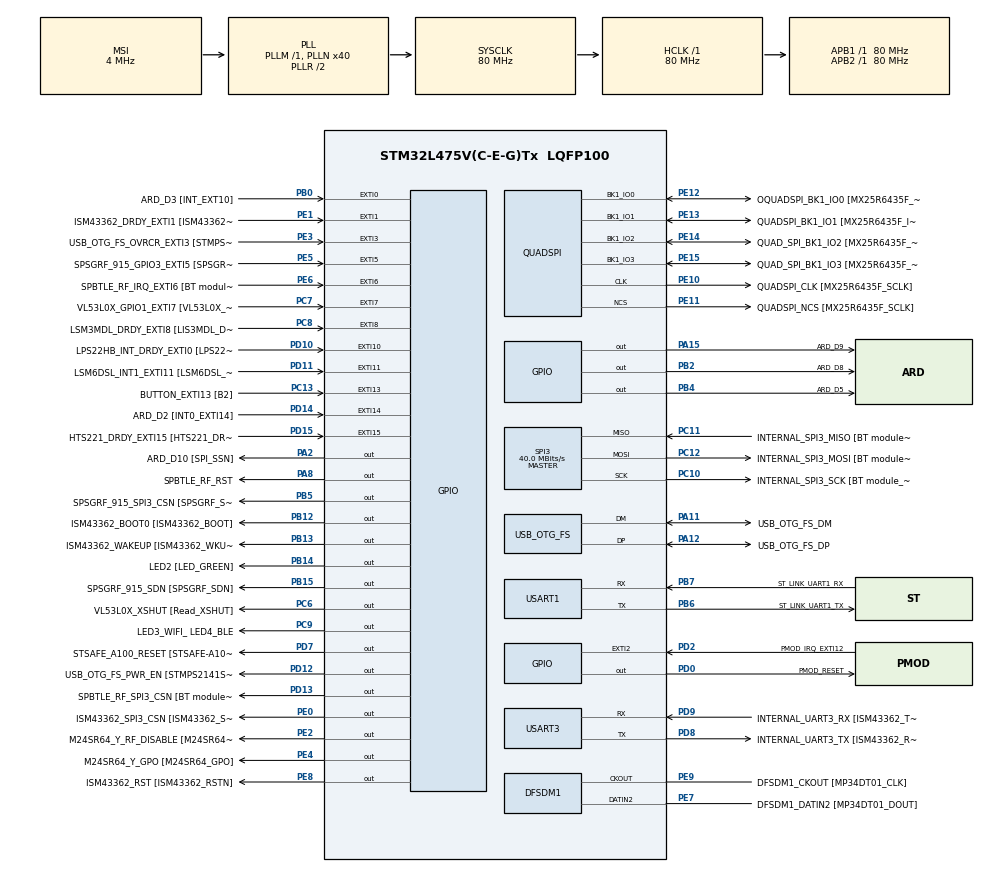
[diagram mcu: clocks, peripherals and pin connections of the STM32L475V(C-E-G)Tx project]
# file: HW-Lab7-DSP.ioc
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Mcu.Family=STM32L4
Mcu.Name=STM32L475V(C-E-G)Tx
Mcu.Package=LQFP100
NVIC.EXTI15_10_IRQn=true\:0\:0\:false\:false\:true\:true\:true\:true
NVIC.EXTI9_5_IRQn=true\:0\:0\:false\:false\:true\:true\:true\:true
NVIC.PriorityGroup=NVIC_PRIORITYGROUP_4
PA0.GPIO_Label=ARD_D1 [UART4_TX]
PA0.Signal=UART4_TX
PA1.GPIO_Label=ARD_D0 [UART4_RX]
PA1.Signal=UART4_RX
PA10.GPIO_Label=USB_OTG_FS_ID
PA10.Signal=USB_OTG_FS_ID
PA11.GPIO_Label=USB_OTG_FS_DM
PA11.Mode=Device_Only
PA11.Signal=USB_OTG_FS_DM
PA12.GPIO_Label=USB_OTG_FS_DP
PA12.Mode=Device_Only
PA12.Signal=USB_OTG_FS_DP
PA13\ (JTMS-SWDIO).GPIO_Label=SYS_JTMS_SWDIO
PA13\ (JTMS-SWDIO).Mode=Serial_Wire
PA13\ (JTMS-SWDIO).Signal=SYS_JTMS-SWDIO
PA14\ (JTCK-SWCLK).GPIO_Label=SYS_JTCK_SWCLK
PA14\ (JTCK-SWCLK).Mode=Serial_Wire
PA14\ (JTCK-SWCLK).Signal=SYS_JTCK-SWCLK
PA15\ (JTDI).GPIO_Label=ARD_D9
PA15\ (JTDI).Signal=GPIO_Output
PA2.GPIO_Label=ARD_D10 [SPI_SSN]
PA2.Signal=GPIO_Output
PA3.GPIO_Label=ARD_D4
PA3.Signal=S_TIM2_CH4
PA4.GPIO_Label=ARD_D7
PA4.Signal=ADCx_IN9
PA5.GPIO_Label=ARD_D13 [SPI1_SCK]
PA5.Signal=SPI1_SCK
PA6.GPIO_Label=ARD_D12 [SPI1_MISO]
PA6.Signal=SPI1_MISO
PA7.GPIO_Label=ARD_D11 [SPI1_MOSI]
PA7.Signal=SPI1_MOSI
PA8.GPIO_Label=SPBTLE_RF_RST
PA8.Signal=GPIO_Output
PA9.GPIO_Label=USB_OTG_FS_VBUS [STMPS2141STR_OUT]
PA9.Signal=USB_OTG_FS_VBUS
PB0.GPIO_Label=ARD_D3 [INT_EXT10]
PB0.Signal=GPXTI0
PB1.GPIO_Label=ARD_D6 [ADC1_IN6]
PB1.Signal=ADCx_IN16
PB10.GPIO_Label=INTERNAL_I2C2_SCL [VL53L0X_SCL]
PB10.GPIO_Pu=GPIO_PULLUP
PB10.Signal=I2C2_SCL
PB11.GPIO_Label=INTERNAL_I2C2_SDA [VL53L0X_SDA]
PB11.GPIO_Pu=GPIO_PULLUP
PB11.Signal=I2C2_SDA
PB12.GPIO_Label=ISM43362_BOOT0 [ISM43362_BOOT]
PB12.Signal=GPIO_Output
PB13.GPIO_Label=ISM43362_WAKEUP [ISM43362_WKUP]
PB13.Signal=GPIO_Output
PB14.GPIO_Label=LED2 [LED_GREEN]
PB14.Signal=GPIO_Output
PB15.GPIO_Label=SPSGRF_915_SDN [SPSGRF_SDN]
PB15.Signal=GPIO_Output
PB2.GPIO_Label=ARD_D8
PB2.Signal=GPIO_Output
PB3\ (JTDO-TRACESWO).GPIO_Label=SYS_JTD0_SWO
PB3\ (JTDO-TRACESWO).Signal=SYS_JTDO-SWO
PB4\ (NJTRST).GPIO_Label=ARD_D5
PB4\ (NJTRST).Signal=GPIO_Output
PB5.GPIO_Label=SPSGRF_915_SPI3_CSN [SPSGRF_SPI_CS]
PB5.PinState=GPIO_PIN_SET
PB5.Signal=GPIO_Output
PB6.GPIO_Label=ST_LINK_UART1_TX
PB6.Mode=Asynchronous
PB6.Signal=USART1_TX
PB7.GPIO_Label=ST_LINK_UART1_RX
PB7.Mode=Asynchronous
PB7.Signal=USART1_RX
PB8.GPIO_Label=ARD_D15 [I2C1_SCL]
PB8.Signal=I2C1_SCL
PB9.GPIO_Label=ARD_D14 [I2C1_SDA]
PB9.Signal=I2C1_SDA
PC0.GPIO_Label=ARD_A5 [ADC]
PC0.Signal=ADCx_IN1
PC1.GPIO_Label=ARD_A4 [ADC]
PC1.Signal=ADCx_IN2
PC10.GPIO_Label=INTERNAL_SPI3_SCK [BT module_SPI_SCLK] [ISM43362_SCK]
PC10.Mode=Full_Duplex_Master
PC10.Signal=SPI3_SCK
PC11.GPIO_Label=INTERNAL_SPI3_MISO [BT module_SPI_MISO] [ISM43362_MISO]
PC11.Mode=Full_Duplex_Master
PC11.Signal=SPI3_MISO
PC12.GPIO_Label=INTERNAL_SPI3_MOSI [BT module_SPI_MOSI] [ISM43362_MOSI]
PC12.Mode=Full_Duplex_Master
PC12.Signal=SPI3_MOSI
PC13.GPIO_Label=BUTTON_EXTI13 [B2]
PC13.GPIO_ModeDefaultEXTI=GPIO_MODE_IT_FALLING
PC13.Signal=GPXTI13
PC14-OSC32_IN\ (PC14).Mode=LSE-External-Oscillator
PC14-OSC32_IN\ (PC14).Signal=RCC_OSC32_IN
PC15-OSC32_OUT\ (PC15).Mode=LSE-External-Oscillator
PC15-OSC32_OUT\ (PC15).Signal=RCC_OSC32_OUT
PC2.GPIO_Label=ARD_A3 [ADC]
PC2.Signal=ADCx_IN3
PC3.GPIO_Label=ARD_A2 [ADC]
PC3.Signal=ADCx_IN4
PC4.GPIO_Label=ARD_A1 [ADC]
PC4.Signal=ADCx_IN13
PC5.GPIO_Label=ARD_A0 [ADC]
PC5.Signal=ADCx_IN14
PC6.GPIO_Label=VL53L0X_XSHUT [Read_XSHUT]
PC6.Signal=GPIO_Output
PC7.GPIO_Label=VL53L0X_GPIO1_EXTI7 [VL53L0X_GPIO1]
PC7.Signal=GPXTI7
PC8.GPIO_Label=LSM3MDL_DRDY_EXTI8 [LIS3MDL_DRDY]
PC8.Signal=GPXTI8
PC9.GPIO_Label=LED3_WIFI_ LED4_BLE
PC9.Signal=GPIO_Output
PD0.GPIO_Label=PMOD_RESET
PD0.Signal=GPIO_Output
PD1.GPIO_Label=PMOD_SPI2_SCK
PD1.Signal=SPI2_SCK
PD10.GPIO_Label=LPS22HB_INT_DRDY_EXTI0 [LPS22HB_INT_DRDY] 
PD10.Signal=GPXTI10
PD11.GPIO_Label=LSM6DSL_INT1_EXTI11 [LSM6DSL_INT1]
PD11.Signal=GPXTI11
PD12.GPIO_Label=USB_OTG_FS_PWR_EN [STMPS2141STR_EN]
PD12.Signal=GPIO_Output
PD13.GPIO_Label=SPBTLE_RF_SPI3_CSN [BT module_SPI_CS]
PD13.PinState=GPIO_PIN_SET
PD13.Signal=GPIO_Output
PD14.GPIO_Label=ARD_D2 [INT0_EXTI14]
PD14.Signal=GPXTI14
PD15.GPIO_Label=HTS221_DRDY_EXTI15 [HTS221_DRDY]
PD15.Signal=GPXTI15
PD2.GPIO_Label=PMOD_IRQ_EXTI12
PD2.Signal=GPXTI2
PD3.GPIO_Label=PMOD_UART2_CTS
PD3.Signal=USART2_CTS
PD4.GPIO_Label=PMOD_UART2_RTS
PD4.Signal=USART2_RTS
PD5.GPIO_Label=PMOD_UART2_TX
PD5.Signal=USART2_TX
PD6.GPIO_Label=PMOD_UART2_RX
PD6.Signal=USART2_RX
PD7.GPIO_Label=STSAFE_A100_RESET [STSAFE-A100_RESET]
PD7.Signal=GPIO_Output
PD8.GPIO_Label=INTERNAL_UART3_TX [ISM43362_RX]
PD8.Mode=Asynchronous
PD8.Signal=USART3_TX
PD9.GPIO_Label=INTERNAL_UART3_RX [ISM43362_TX]
PD9.Mode=Asynchronous
PD9.Signal=USART3_RX
PE0.GPIO_Label=ISM43362_SPI3_CSN [ISM43362_SSN]
PE0.PinState=GPIO_PIN_SET
PE0.Signal=GPIO_Output
PE1.GPIO_Label=ISM43362_DRDY_EXTI1 [ISM43362_DATARDY]
PE1.Signal=GPXTI1
PE10.GPIO_Label=QUADSPI_CLK [MX25R6435F_SCLK]
PE10.Mode=Single Bank
PE10.Signal=QUADSPI_CLK
PE11.GPIO_Label=QUADSPI_NCS [MX25R6435F_SCLK]
PE11.Mode=Single Bank
PE11.Signal=QUADSPI_NCS
PE12.GPIO_Label=OQUADSPI_BK1_IO0 [MX25R6435F_IO0]
PE12.Mode=Single Bank
PE12.Signal=QUADSPI_BK1_IO0
PE13.GPIO_Label=QUADSPI_BK1_IO1 [MX25R6435F_IO1]
PE13.Mode=Single Bank
PE13.Signal=QUADSPI_BK1_IO1
PE14.GPIO_Label=QUAD_SPI_BK1_IO2 [MX25R6435F_IO2]
PE14.Mode=Single Bank
PE14.Signal=QUADSPI_BK1_IO2
PE15.GPIO_Label=QUAD_SPI_BK1_IO3 [MX25R6435F_IO3]
PE15.Mode=Single Bank
PE15.Signal=QUADSPI_BK1_IO3
PE2.GPIO_Label=M24SR64_Y_RF_DISABLE [M24SR64_RFDIS]
PE2.Signal=GPIO_Output
PE3.GPIO_Label=USB_OTG_FS_OVRCR_EXTI3 [STMPS2141STR_FAULT]
PE3.Signal=GPXTI3
PE4.GPIO_Label=M24SR64_Y_GPO [M24SR64_GPO]
PE4.Signal=GPIO_Output
PE5.GPIO_Label=SPSGRF_915_GPIO3_EXTI5 [SPSGRF_GPIO_3]
PE5.Signal=GPXTI5
PE6.GPIO_Label=SPBTLE_RF_IRQ_EXTI6 [BT module_SPI_IRQ]
PE6.Signal=GPXTI6
PE7.GPIO_Label=DFSDM1_DATIN2 [MP34DT01_DOUT]
PE7.Signal=S_DATAIN2DFSDM1
PE8.GPIO_Label=ISM43362_RST [ISM43362_RSTN]
PE8.Signal=GPIO_Output
PE9.GPIO_Label=DFSDM1_CKOUT [MP34DT01_CLK]
PE9.Signal=S_CKOUTDFSDM1
ProjectManager.HeapSize=0x1000
ProjectManager.StackSize=0x1000
ProjectManager.TargetToolchain=STM32CubeIDE
QUADSPI.ClockPrescaler=2
QUADSPI.FifoThreshold=4
QUADSPI.FlashSize=23
QUADSPI.SampleShifting=QSPI_SAMPLE_SHIFTING_HALFCYCLE
RCC.ADCFreq_Value=48000000
RCC.AHBFreq_Value=80000000
RCC.APB1Freq_Value=80000000
RCC.APB1TimFreq_Value=80000000
RCC.APB2Freq_Value=80000000
RCC.APB2TimFreq_Value=80000000
RCC.CortexFreq_Value=80000000
RCC.HCLKFreq_Value=80000000
RCC.HSE_VALUE=8000000
RCC.HSI_VALUE=16000000
RCC.MSI_VALUE=4000000
RCC.PLLN=40
RCC.PLLSAI1N=24
RCC.SYSCLKFreq_VALUE=80000000
RCC.SYSCLKSource=RCC_SYSCLKSOURCE_PLLCLK
RCC.USBFreq_Value=48000000
RCC.VCOOutputFreq_Value=160000000
SH.ADCx_IN1.0=ADC1_IN1
SH.ADCx_IN13.0=ADC1_IN13
SH.ADCx_IN14.0=ADC1_IN14
SH.ADCx_IN16.0=ADC1_IN16
SH.ADCx_IN2.0=ADC1_IN2
SH.ADCx_IN3.0=ADC1_IN3
SH.ADCx_IN4.0=ADC1_IN4
SH.ADCx_IN9.0=ADC1_IN9
SH.S_CKOUTDFSDM1.0=DFSDM1_CKOUT,CKOUT
SH.S_CKOUTDFSDM1.1=DFSDM1_CKOUT,PDM_SPI_Input_from_ch12_and_Internal_Clock
SH.S_DATAIN2DFSDM1.0=DFSDM1_DATIN2,PDM_SPI_Input_from_ch12_and_Internal_Clock
SH.S_TIM2_CH4.0=TIM2_CH4
SPI3.CalculateBaudRate=40.0 MBits/s
SPI3.Direction=SPI_DIRECTION_2LINES
SPI3.Mode=SPI_MODE_MASTER
SPI3.VirtualType=VM_MASTER
USART1.VirtualMode-Asynchronous=VM_ASYNC
USART3.VirtualMode-Asynchronous=VM_ASYNC
USB_OTG_FS.VirtualMode=Device_Only
board=B-L475E-IOT01A1

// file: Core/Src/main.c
/* USER CODE BEGIN Header */
/**
  ******************************************************************************
  * @file           : main.c
  * @brief          : Main program body
  ******************************************************************************
  * @attention
  *
  * Copyright (c) 2026 STMicroelectronics.
  * All rights reserved.
  *
  * This software is licensed under terms that can be found in the LICENSE file
  * in the root directory of this software component.
  * If no LICENSE file comes with this software, it is provided AS-IS.
  *
  ******************************************************************************
  */
/* USER CODE END Header */
#include "main.h"

/* USER CODE BEGIN Includes */
#include "stm32l475e_iot01_accelero.h"
#include "arm_math.h"
#include <stdio.h>
#include <math.h>
#include "fir_coeffs.h"

/* 1 = 已知訊號驗證模式；0 = 真實加速度計模式（Step 9） */
#define USE_KNOWN_SIGNAL 0
/* USER CODE END Includes */

DFSDM_Channel_HandleTypeDef hdfsdm1_channel1;

QSPI_HandleTypeDef hqspi;

SPI_HandleTypeDef hspi3;

UART_HandleTypeDef huart1;
UART_HandleTypeDef huart3;

PCD_HandleTypeDef hpcd_USB_OTG_FS;

void SystemClock_Config(void);
static void MX_GPIO_Init(void);
static void MX_DFSDM1_Init(void);
static void MX_QUADSPI_Init(void);
static void MX_SPI3_Init(void);
static void MX_USART1_UART_Init(void);
static void MX_USART3_UART_Init(void);
static void MX_USB_OTG_FS_PCD_Init(void);

/* USER CODE BEGIN 0 */
#if USE_KNOWN_SIGNAL
#define KS_N        300
#define KS_DELAY    ((NUM_TAPS - 1) / 2)   /* 線性相位 FIR 群延遲 = 15 取樣 */
#define KS_PI       3.14159265358979f

static float32_t ks_state[NUM_TAPS];       /* blockSize=1 -> numTaps + 1 - 1 */
static arm_fir_instance_f32 ks_fir;

/* 300 點合成訊號：5Hz(保留) + 0.5*40Hz(濾除)，fs=100Hz */
static void known_signal_test(void)
{
  float32_t max_err = 0.0f;

  arm_fir_init_f32(&ks_fir, NUM_TAPS, (float32_t *)firCoeffs, ks_state, 1);
  printf("n,x,y\r\n");
  for (int n = 0; n < KS_N; n++)
  {
    float32_t x = sinf(2.0f * KS_PI * 5.0f * n / 100.0f)
                + 0.5f * sinf(2.0f * KS_PI * 40.0f * n / 100.0f);
    float32_t y;
    arm_fir_f32(&ks_fir, &x, &y, 1);
    printf("%d,%.6f,%.6f\r\n", n, x, y);

    if (n >= NUM_TAPS) /* 跳過前 31 點暫態 */
    {
      float32_t ideal = sinf(2.0f * KS_PI * 5.0f * (n - KS_DELAY) / 100.0f);
      float32_t err = fabsf(y - ideal);
      if (err > max_err) max_err = err;
    }
  }
  printf("max error = %.6f\r\n", max_err);
}
#endif

#if !USE_KNOWN_SIGNAL
/* 真實模式：三軸各一個 FIR 實例與狀態陣列 */
static float32_t acc_state[3][NUM_TAPS];
static arm_fir_instance_f32 acc_fir[3];
#endif

/* USER CODE END 0 */

int main(void)
{

  /* MCU Configuration--------------------------------------------------------*/

  /* Reset of all peripherals, Initializes the Flash interface and the Systick. */
  HAL_Init();

  /* Configure the system clock */
  SystemClock_Config();

  /* Initialize all configured peripherals */
  MX_GPIO_Init();
  MX_DFSDM1_Init();
  MX_QUADSPI_Init();
  MX_SPI3_Init();
  MX_USART1_UART_Init();
  MX_USART3_UART_Init();
  MX_USB_OTG_FS_PCD_Init();
  /* USER CODE BEGIN 2 */
  setvbuf(stdout, NULL, _IONBF, 0); /* printf 不緩衝，直接送 UART */
#if !USE_KNOWN_SIGNAL
  if (BSP_ACCELERO_Init() != ACCELERO_OK)
  {
    printf("ERROR: accelerometer init failed\r\n");
    Error_Handler();
  }
  for (int i = 0; i < 3; i++)
  {
    arm_fir_init_f32(&acc_fir[i], NUM_TAPS, (float32_t *)firCoeffs, acc_state[i], 1);
  }
  printf("in_x,in_y,in_z,out_x,out_y,out_z\r\n");
#endif
  /* USER CODE END 2 */

  /* Infinite loop */
  while (1)
  {

    /* USER CODE BEGIN 3 */
#if USE_KNOWN_SIGNAL
    known_signal_test();   /* 每 3 秒重複一次，方便電腦端隨時接上擷取 */
    HAL_Delay(3000);
#else
    {
      int16_t raw[3];
      float32_t in[3], out[3];
      BSP_ACCELERO_AccGetXYZ(raw);            /* 單位 mg */
      for (int i = 0; i < 3; i++)
      {
        in[i] = (float32_t)raw[i];
        arm_fir_f32(&acc_fir[i], &in[i], &out[i], 1);
      }
      printf("%.1f,%.1f,%.1f,%.3f,%.3f,%.3f\r\n",
             in[0], in[1], in[2], out[0], out[1], out[2]);
      HAL_Delay(10);
    }
#endif
  }
  /* USER CODE END 3 */
}

void SystemClock_Config(void)
{
  RCC_OscInitTypeDef RCC_OscInitStruct = {0};
  RCC_ClkInitTypeDef RCC_ClkInitStruct = {0};

  /** Configure the main internal regulator output voltage
  */
  if (HAL_PWREx_ControlVoltageScaling(PWR_REGULATOR_VOLTAGE_SCALE1) != HAL_OK)
  {
    Error_Handler();
  }

  /** Configure LSE Drive Capability
  */
  HAL_PWR_EnableBkUpAccess();
  __HAL_RCC_LSEDRIVE_CONFIG(RCC_LSEDRIVE_LOW);

  /** Initializes the RCC Oscillators according to the specified parameters
  * in the RCC_OscInitTypeDef structure.
  */
  RCC_OscInitStruct.OscillatorType = RCC_OSCILLATORTYPE_LSE|RCC_OSCILLATORTYPE_MSI;
  RCC_OscInitStruct.LSEState = RCC_LSE_ON;
  RCC_OscInitStruct.MSIState = RCC_MSI_ON;
  RCC_OscInitStruct.MSICalibrationValue = 0;
  RCC_OscInitStruct.MSIClockRange = RCC_MSIRANGE_6;
  RCC_OscInitStruct.PLL.PLLState = RCC_PLL_ON;
  RCC_OscInitStruct.PLL.PLLSource = RCC_PLLSOURCE_MSI;
  RCC_OscInitStruct.PLL.PLLM = 1;
  RCC_OscInitStruct.PLL.PLLN = 40;
  RCC_OscInitStruct.PLL.PLLP = RCC_PLLP_DIV7;
  RCC_OscInitStruct.PLL.PLLQ = RCC_PLLQ_DIV2;
  RCC_OscInitStruct.PLL.PLLR = RCC_PLLR_DIV2;
  if (HAL_RCC_OscConfig(&RCC_OscInitStruct) != HAL_OK)
  {
    Error_Handler();
  }

  /** Initializes the CPU, AHB and APB buses clocks
  */
  RCC_ClkInitStruct.ClockType = RCC_CLOCKTYPE_HCLK|RCC_CLOCKTYPE_SYSCLK
                              |RCC_CLOCKTYPE_PCLK1|RCC_CLOCKTYPE_PCLK2;
  RCC_ClkInitStruct.SYSCLKSource = RCC_SYSCLKSOURCE_PLLCLK;
  RCC_ClkInitStruct.AHBCLKDivider = RCC_SYSCLK_DIV1;
  RCC_ClkInitStruct.APB1CLKDivider = RCC_HCLK_DIV1;
  RCC_ClkInitStruct.APB2CLKDivider = RCC_HCLK_DIV1;

  if (HAL_RCC_ClockConfig(&RCC_ClkInitStruct, FLASH_LATENCY_4) != HAL_OK)
  {
    Error_Handler();
  }

  /** Enable MSI Auto calibration
  */
  HAL_RCCEx_EnableMSIPLLMode();
}

static void MX_DFSDM1_Init(void)
{

  hdfsdm1_channel1.Instance = DFSDM1_Channel1;
  hdfsdm1_channel1.Init.OutputClock.Activation = ENABLE;
  hdfsdm1_channel1.Init.OutputClock.Selection = DFSDM_CHANNEL_OUTPUT_CLOCK_SYSTEM;
  hdfsdm1_channel1.Init.OutputClock.Divider = 2;
  hdfsdm1_channel1.Init.Input.Multiplexer = DFSDM_CHANNEL_EXTERNAL_INPUTS;
  hdfsdm1_channel1.Init.Input.DataPacking = DFSDM_CHANNEL_STANDARD_MODE;
  hdfsdm1_channel1.Init.Input.Pins = DFSDM_CHANNEL_FOLLOWING_CHANNEL_PINS;
  hdfsdm1_channel1.Init.SerialInterface.Type = DFSDM_CHANNEL_SPI_RISING;
  hdfsdm1_channel1.Init.SerialInterface.SpiClock = DFSDM_CHANNEL_SPI_CLOCK_INTERNAL;
  hdfsdm1_channel1.Init.Awd.FilterOrder = DFSDM_CHANNEL_FASTSINC_ORDER;
  hdfsdm1_channel1.Init.Awd.Oversampling = 1;
  hdfsdm1_channel1.Init.Offset = 0;
  hdfsdm1_channel1.Init.RightBitShift = 0x00;
  if (HAL_DFSDM_ChannelInit(&hdfsdm1_channel1) != HAL_OK)
  {
    Error_Handler();
  }

}

static void MX_QUADSPI_Init(void)
{

  /* QUADSPI parameter configuration*/
  hqspi.Instance = QUADSPI;
  hqspi.Init.ClockPrescaler = 2;
  hqspi.Init.FifoThreshold = 4;
  hqspi.Init.SampleShifting = QSPI_SAMPLE_SHIFTING_HALFCYCLE;
  hqspi.Init.FlashSize = 23;
  hqspi.Init.ChipSelectHighTime = QSPI_CS_HIGH_TIME_1_CYCLE;
  hqspi.Init.ClockMode = QSPI_CLOCK_MODE_0;
  if (HAL_QSPI_Init(&hqspi) != HAL_OK)
  {
    Error_Handler();
  }

}

static void MX_SPI3_Init(void)
{

  /* SPI3 parameter configuration*/
  hspi3.Instance = SPI3;
  hspi3.Init.Mode = SPI_MODE_MASTER;
  hspi3.Init.Direction = SPI_DIRECTION_2LINES;
  hspi3.Init.DataSize = SPI_DATASIZE_4BIT;
  hspi3.Init.CLKPolarity = SPI_POLARITY_LOW;
  hspi3.Init.CLKPhase = SPI_PHASE_1EDGE;
  hspi3.Init.NSS = SPI_NSS_SOFT;
  hspi3.Init.BaudRatePrescaler = SPI_BAUDRATEPRESCALER_2;
  hspi3.Init.FirstBit = SPI_FIRSTBIT_MSB;
  hspi3.Init.TIMode = SPI_TIMODE_DISABLE;
  hspi3.Init.CRCCalculation = SPI_CRCCALCULATION_DISABLE;
  hspi3.Init.CRCPolynomial = 7;
  hspi3.Init.CRCLength = SPI_CRC_LENGTH_DATASIZE;
  hspi3.Init.NSSPMode = SPI_NSS_PULSE_ENABLE;
  if (HAL_SPI_Init(&hspi3) != HAL_OK)
  {
    Error_Handler();
  }

}

static void MX_USART1_UART_Init(void)
{

  huart1.Instance = USART1;
  huart1.Init.BaudRate = 115200;
  huart1.Init.WordLength = UART_WORDLENGTH_8B;
  huart1.Init.StopBits = UART_STOPBITS_1;
  huart1.Init.Parity = UART_PARITY_NONE;
  huart1.Init.Mode = UART_MODE_TX_RX;
  huart1.Init.HwFlowCtl = UART_HWCONTROL_NONE;
  huart1.Init.OverSampling = UART_OVERSAMPLING_16;
  huart1.Init.OneBitSampling = UART_ONE_BIT_SAMPLE_DISABLE;
  huart1.AdvancedInit.AdvFeatureInit = UART_ADVFEATURE_NO_INIT;
  if (HAL_UART_Init(&huart1) != HAL_OK)
  {
    Error_Handler();
  }

}

static void MX_USART3_UART_Init(void)
{

  huart3.Instance = USART3;
  huart3.Init.BaudRate = 115200;
  huart3.Init.WordLength = UART_WORDLENGTH_8B;
  huart3.Init.StopBits = UART_STOPBITS_1;
  huart3.Init.Parity = UART_PARITY_NONE;
  huart3.Init.Mode = UART_MODE_TX_RX;
  huart3.Init.HwFlowCtl = UART_HWCONTROL_NONE;
  huart3.Init.OverSampling = UART_OVERSAMPLING_16;
  huart3.Init.OneBitSampling = UART_ONE_BIT_SAMPLE_DISABLE;
  huart3.AdvancedInit.AdvFeatureInit = UART_ADVFEATURE_NO_INIT;
  if (HAL_UART_Init(&huart3) != HAL_OK)
  {
    Error_Handler();
  }

}

static void MX_USB_OTG_FS_PCD_Init(void)
{

  hpcd_USB_OTG_FS.Instance = USB_OTG_FS;
  hpcd_USB_OTG_FS.Init.dev_endpoints = 6;
  hpcd_USB_OTG_FS.Init.speed = PCD_SPEED_FULL;
  hpcd_USB_OTG_FS.Init.phy_itface = PCD_PHY_EMBEDDED;
  hpcd_USB_OTG_FS.Init.Sof_enable = DISABLE;
  hpcd_USB_OTG_FS.Init.low_power_enable = DISABLE;
  hpcd_USB_OTG_FS.Init.lpm_enable = DISABLE;
  hpcd_USB_OTG_FS.Init.battery_charging_enable = DISABLE;
  hpcd_USB_OTG_FS.Init.use_dedicated_ep1 = DISABLE;
  hpcd_USB_OTG_FS.Init.vbus_sensing_enable = DISABLE;
  if (HAL_PCD_Init(&hpcd_USB_OTG_FS) != HAL_OK)
  {
    Error_Handler();
  }

}

static void MX_GPIO_Init(void)
{
  GPIO_InitTypeDef GPIO_InitStruct = {0};

  /* GPIO Ports Clock Enable */
  __HAL_RCC_GPIOE_CLK_ENABLE();
  __HAL_RCC_GPIOC_CLK_ENABLE();
  __HAL_RCC_GPIOA_CLK_ENABLE();
  __HAL_RCC_GPIOB_CLK_ENABLE();
  __HAL_RCC_GPIOD_CLK_ENABLE();

  /*Configure GPIO pin Output Level */
  HAL_GPIO_WritePin(GPIOE, M24SR64_Y_RF_DISABLE_Pin|M24SR64_Y_GPO_Pin|ISM43362_RST_Pin, GPIO_PIN_RESET);

  /*Configure GPIO pin Output Level */
  HAL_GPIO_WritePin(GPIOA, ARD_D10_Pin|SPBTLE_RF_RST_Pin|ARD_D9_Pin, GPIO_PIN_RESET);

  /*Configure GPIO pin Output Level */
  HAL_GPIO_WritePin(GPIOB, ARD_D8_Pin|ISM43362_BOOT0_Pin|ISM43362_WAKEUP_Pin|LED2_Pin
                          |SPSGRF_915_SDN_Pin|ARD_D5_Pin, GPIO_PIN_RESET);

  /*Configure GPIO pin Output Level */
  HAL_GPIO_WritePin(GPIOD, USB_OTG_FS_PWR_EN_Pin|PMOD_RESET_Pin|STSAFE_A100_RESET_Pin, GPIO_PIN_RESET);

  /*Configure GPIO pin Output Level */
  HAL_GPIO_WritePin(SPBTLE_RF_SPI3_CSN_GPIO_Port, SPBTLE_RF_SPI3_CSN_Pin, GPIO_PIN_SET);

  /*Configure GPIO pin Output Level */
  HAL_GPIO_WritePin(GPIOC, VL53L0X_XSHUT_Pin|LED3_WIFI__LED4_BLE_Pin, GPIO_PIN_RESET);

  /*Configure GPIO pin Output Level */
  HAL_GPIO_WritePin(SPSGRF_915_SPI3_CSN_GPIO_Port, SPSGRF_915_SPI3_CSN_Pin, GPIO_PIN_SET);

  /*Configure GPIO pin Output Level */
  HAL_GPIO_WritePin(ISM43362_SPI3_CSN_GPIO_Port, ISM43362_SPI3_CSN_Pin, GPIO_PIN_SET);

  /*Configure GPIO pins : M24SR64_Y_RF_DISABLE_Pin M24SR64_Y_GPO_Pin ISM43362_RST_Pin ISM43362_SPI3_CSN_Pin */
  GPIO_InitStruct.Pin = M24SR64_Y_RF_DISABLE_Pin|M24SR64_Y_GPO_Pin|ISM43362_RST_Pin|ISM43362_SPI3_CSN_Pin;
  GPIO_InitStruct.Mode = GPIO_MODE_OUTPUT_PP;
  GPIO_InitStruct.Pull = GPIO_NOPULL;
  GPIO_InitStruct.Speed = GPIO_SPEED_FREQ_LOW;
  HAL_GPIO_Init(GPIOE, &GPIO_InitStruct);

  /*Configure GPIO pins : USB_OTG_FS_OVRCR_EXTI3_Pin SPSGRF_915_GPIO3_EXTI5_Pin SPBTLE_RF_IRQ_EXTI6_Pin ISM43362_DRDY_EXTI1_Pin */
  GPIO_InitStruct.Pin = USB_OTG_FS_OVRCR_EXTI3_Pin|SPSGRF_915_GPIO3_EXTI5_Pin|SPBTLE_RF_IRQ_EXTI6_Pin|ISM43362_DRDY_EXTI1_Pin;
  GPIO_InitStruct.Mode = GPIO_MODE_IT_RISING;
  GPIO_InitStruct.Pull = GPIO_NOPULL;
  HAL_GPIO_Init(GPIOE, &GPIO_InitStruct);

  /*Configure GPIO pin : BUTTON_EXTI13_Pin */
  GPIO_InitStruct.Pin = BUTTON_EXTI13_Pin;
  GPIO_InitStruct.Mode = GPIO_MODE_IT_FALLING;
  GPIO_InitStruct.Pull = GPIO_NOPULL;
  HAL_GPIO_Init(BUTTON_EXTI13_GPIO_Port, &GPIO_InitStruct);

  /*Configure GPIO pins : ARD_A5_Pin ARD_A4_Pin ARD_A3_Pin ARD_A2_Pin
                           ARD_A1_Pin ARD_A0_Pin */
  GPIO_InitStruct.Pin = ARD_A5_Pin|ARD_A4_Pin|ARD_A3_Pin|ARD_A2_Pin
                          |ARD_A1_Pin|ARD_A0_Pin;
  GPIO_InitStruct.Mode = GPIO_MODE_ANALOG_ADC_CONTROL;
  GPIO_InitStruct.Pull = GPIO_NOPULL;
  HAL_GPIO_Init(GPIOC, &GPIO_InitStruct);

  /*Configure GPIO pins : ARD_D1_Pin ARD_D0_Pin */
  GPIO_InitStruct.Pin = ARD_D1_Pin|ARD_D0_Pin;
  GPIO_InitStruct.Mode = GPIO_MODE_AF_PP;
  GPIO_InitStruct.Pull = GPIO_NOPULL;
  GPIO_InitStruct.Speed = GPIO_SPEED_FREQ_VERY_HIGH;
  GPIO_InitStruct.Alternate = GPIO_AF8_UART4;
  HAL_GPIO_Init(GPIOA, &GPIO_InitStruct);

  /*Configure GPIO pins : ARD_D10_Pin SPBTLE_RF_RST_Pin ARD_D9_Pin */
  GPIO_InitStruct.Pin = ARD_D10_Pin|SPBTLE_RF_RST_Pin|ARD_D9_Pin;
  GPIO_InitStruct.Mode = GPIO_MODE_OUTPUT_PP;
  GPIO_InitStruct.Pull = GPIO_NOPULL;
  GPIO_InitStruct.Speed = GPIO_SPEED_FREQ_LOW;
  HAL_GPIO_Init(GPIOA, &GPIO_InitStruct);

  /*Configure GPIO pin : ARD_D4_Pin */
  GPIO_InitStruct.Pin = ARD_D4_Pin;
  GPIO_InitStruct.Mode = GPIO_MODE_AF_PP;
  GPIO_InitStruct.Pull = GPIO_NOPULL;
  GPIO_InitStruct.Speed = GPIO_SPEED_FREQ_LOW;
  GPIO_InitStruct.Alternate = GPIO_AF1_TIM2;
  HAL_GPIO_Init(ARD_D4_GPIO_Port, &GPIO_InitStruct);

  /*Configure GPIO pin : ARD_D7_Pin */
  GPIO_InitStruct.Pin = ARD_D7_Pin;
  GPIO_InitStruct.Mode = GPIO_MODE_ANALOG_ADC_CONTROL;
  GPIO_InitStruct.Pull = GPIO_NOPULL;
  HAL_GPIO_Init(ARD_D7_GPIO_Port, &GPIO_InitStruct);

  /*Configure GPIO pins : ARD_D13_Pin ARD_D12_Pin ARD_D11_Pin */
  GPIO_InitStruct.Pin = ARD_D13_Pin|ARD_D12_Pin|ARD_D11_Pin;
  GPIO_InitStruct.Mode = GPIO_MODE_AF_PP;
  GPIO_InitStruct.Pull = GPIO_NOPULL;
  GPIO_InitStruct.Speed = GPIO_SPEED_FREQ_VERY_HIGH;
  GPIO_InitStruct.Alternate = GPIO_AF5_SPI1;
  HAL_GPIO_Init(GPIOA, &GPIO_InitStruct);

  /*Configure GPIO pin : ARD_D3_Pin */
  GPIO_InitStruct.Pin = ARD_D3_Pin;
  GPIO_InitStruct.Mode = GPIO_MODE_IT_RISING;
  GPIO_InitStruct.Pull = GPIO_NOPULL;
  HAL_GPIO_Init(ARD_D3_GPIO_Port, &GPIO_InitStruct);

  /*Configure GPIO pin : ARD_D6_Pin */
  GPIO_InitStruct.Pin = ARD_D6_Pin;
  GPIO_InitStruct.Mode = GPIO_MODE_ANALOG_ADC_CONTROL;
  GPIO_InitStruct.Pull = GPIO_NOPULL;
  HAL_GPIO_Init(ARD_D6_GPIO_Port, &GPIO_InitStruct);

  /*Configure GPIO pins : ARD_D8_Pin ISM43362_BOOT0_Pin ISM43362_WAKEUP_Pin LED2_Pin
                           SPSGRF_915_SDN_Pin ARD_D5_Pin SPSGRF_915_SPI3_CSN_Pin */
  GPIO_InitStruct.Pin = ARD_D8_Pin|ISM43362_BOOT0_Pin|ISM43362_WAKEUP_Pin|LED2_Pin
                          |SPSGRF_915_SDN_Pin|ARD_D5_Pin|SPSGRF_915_SPI3_CSN_Pin;
  GPIO_InitStruct.Mode = GPIO_MODE_OUTPUT_PP;
  GPIO_InitStruct.Pull = GPIO_NOPULL;
  GPIO_InitStruct.Speed = GPIO_SPEED_FREQ_LOW;
  HAL_GPIO_Init(GPIOB, &GPIO_InitStruct);

  /*Configure GPIO pins : INTERNAL_I2C2_SCL_Pin INTERNAL_I2C2_SDA_Pin */
  GPIO_InitStruct.Pin = INTERNAL_I2C2_SCL_Pin|INTERNAL_I2C2_SDA_Pin;
  GPIO_InitStruct.Mode = GPIO_MODE_AF_OD;
  GPIO_InitStruct.Pull = GPIO_PULLUP;
  GPIO_InitStruct.Speed = GPIO_SPEED_FREQ_VERY_HIGH;
  GPIO_InitStruct.Alternate = GPIO_AF4_I2C2;
  HAL_GPIO_Init(GPIOB, &GPIO_InitStruct);

  /*Configure GPIO pins : LPS22HB_INT_DRDY_EXTI0_Pin LSM6DSL_INT1_EXTI11_Pin ARD_D2_Pin HTS221_DRDY_EXTI15_Pin
                           PMOD_IRQ_EXTI12_Pin */
  GPIO_InitStruct.Pin = LPS22HB_INT_DRDY_EXTI0_Pin|LSM6DSL_INT1_EXTI11_Pin|ARD_D2_Pin|HTS221_DRDY_EXTI15_Pin
                          |PMOD_IRQ_EXTI12_Pin;
  GPIO_InitStruct.Mode = GPIO_MODE_IT_RISING;
  GPIO_InitStruct.Pull = GPIO_NOPULL;
  HAL_GPIO_Init(GPIOD, &GPIO_InitStruct);

  /*Configure GPIO pins : USB_OTG_FS_PWR_EN_Pin SPBTLE_RF_SPI3_CSN_Pin PMOD_RESET_Pin STSAFE_A100_RESET_Pin */
  GPIO_InitStruct.Pin = USB_OTG_FS_PWR_EN_Pin|SPBTLE_RF_SPI3_CSN_Pin|PMOD_RESET_Pin|STSAFE_A100_RESET_Pin;
  GPIO_InitStruct.Mode = GPIO_MODE_OUTPUT_PP;
  GPIO_InitStruct.Pull = GPIO_NOPULL;
  GPIO_InitStruct.Speed = GPIO_SPEED_FREQ_LOW;
  HAL_GPIO_Init(GPIOD, &GPIO_InitStruct);

  /*Configure GPIO pins : VL53L0X_XSHUT_Pin LED3_WIFI__LED4_BLE_Pin */
  GPIO_InitStruct.Pin = VL53L0X_XSHUT_Pin|LED3_WIFI__LED4_BLE_Pin;
  GPIO_InitStruct.Mode = GPIO_MODE_OUTPUT_PP;
  GPIO_InitStruct.Pull = GPIO_NOPULL;
  GPIO_InitStruct.Speed = GPIO_SPEED_FREQ_LOW;
  HAL_GPIO_Init(GPIOC, &GPIO_InitStruct);

  /*Configure GPIO pins : VL53L0X_GPIO1_EXTI7_Pin LSM3MDL_DRDY_EXTI8_Pin */
  GPIO_InitStruct.Pin = VL53L0X_GPIO1_EXTI7_Pin|LSM3MDL_DRDY_EXTI8_Pin;
  GPIO_InitStruct.Mode = GPIO_MODE_IT_RISING;
  GPIO_InitStruct.Pull = GPIO_NOPULL;
  HAL_GPIO_Init(GPIOC, &GPIO_InitStruct);

  /*Configure GPIO pin : PMOD_SPI2_SCK_Pin */
  GPIO_InitStruct.Pin = PMOD_SPI2_SCK_Pin;
  GPIO_InitStruct.Mode = GPIO_MODE_AF_PP;
  GPIO_InitStruct.Pull = GPIO_NOPULL;
  GPIO_InitStruct.Speed = GPIO_SPEED_FREQ_VERY_HIGH;
  GPIO_InitStruct.Alternate = GPIO_AF5_SPI2;
  HAL_GPIO_Init(PMOD_SPI2_SCK_GPIO_Port, &GPIO_InitStruct);

  /*Configure GPIO pins : PMOD_UART2_CTS_Pin PMOD_UART2_RTS_Pin PMOD_UART2_TX_Pin PMOD_UART2_RX_Pin */
  GPIO_InitStruct.Pin = PMOD_UART2_CTS_Pin|PMOD_UART2_RTS_Pin|PMOD_UART2_TX_Pin|PMOD_UART2_RX_Pin;
  GPIO_InitStruct.Mode = GPIO_MODE_AF_PP;
  GPIO_InitStruct.Pull = GPIO_NOPULL;
  GPIO_InitStruct.Speed = GPIO_SPEED_FREQ_VERY_HIGH;
  GPIO_InitStruct.Alternate = GPIO_AF7_USART2;
  HAL_GPIO_Init(GPIOD, &GPIO_InitStruct);

  /*Configure GPIO pins : ARD_D15_Pin ARD_D14_Pin */
  GPIO_InitStruct.Pin = ARD_D15_Pin|ARD_D14_Pin;
  GPIO_InitStruct.Mode = GPIO_MODE_AF_OD;
  GPIO_InitStruct.Pull = GPIO_NOPULL;
  GPIO_InitStruct.Speed = GPIO_SPEED_FREQ_VERY_HIGH;
  GPIO_InitStruct.Alternate = GPIO_AF4_I2C1;
  HAL_GPIO_Init(GPIOB, &GPIO_InitStruct);

  /* EXTI interrupt init*/
  HAL_NVIC_SetPriority(EXTI9_5_IRQn, 0, 0);
  HAL_NVIC_EnableIRQ(EXTI9_5_IRQn);

  HAL_NVIC_SetPriority(EXTI15_10_IRQn, 0, 0);
  HAL_NVIC_EnableIRQ(EXTI15_10_IRQn);

}

/* USER CODE BEGIN 4 */
#include <stdio.h>

/* printf 重導向到 USART1（ST-LINK 虛擬序列埠） */
int _write(int file, char *ptr, int len)
{
  (void)file;
  HAL_UART_Transmit(&huart1, (uint8_t *)ptr, (uint16_t)len, HAL_MAX_DELAY);
  return len;
}
/* USER CODE END 4 */

void Error_Handler(void)
{
  __disable_irq();
  while (1)
  {
  }
}
